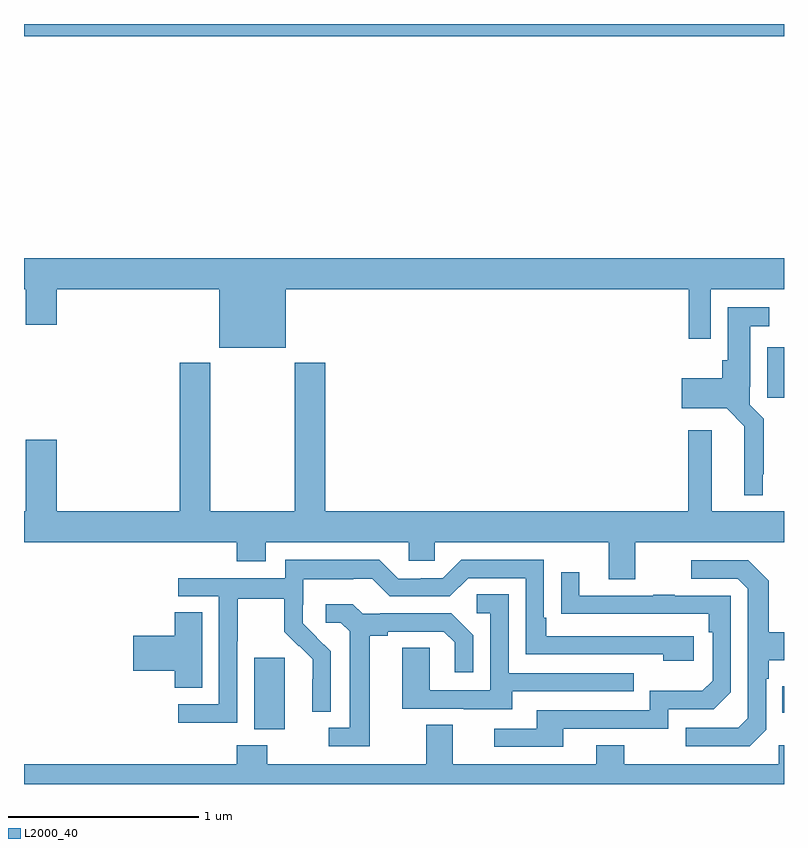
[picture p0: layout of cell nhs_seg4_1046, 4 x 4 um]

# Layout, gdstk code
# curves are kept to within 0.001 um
import gdstk
lib = gdstk.Library(unit=1e-6, precision=1e-09)
def R(c, l, rs):  # rectangles x0, y0, x1, y1
    for r in rs: c.add(gdstk.rectangle(r[:2], r[2:], *l))
def P(c, l, *ps):  # polygons
    for p in ps: c.add(gdstk.Polygon(p, *l))
L2000_40 = (2000, 40)

nhs_seg4_1046 = lib.new_cell('nhs_seg4_1046')
R(nhs_seg4_1046, L2000_40, [(166.211,777.188,166.372,777.565), (168.991,777.275,169,777.415), (168.911,778.932,169,779.199), (165,780.836,169,780.9)])
P(nhs_seg4_1046, L2000_40, [(166.378,779.504),(168.499,779.504),(168.499,779.244),(168.615,779.244),(168.615,779.504),(169,779.504),(169,779.668),(165,779.668),(165,779.504),(165.008,779.504),(165.008,779.316),(165.172,779.316),(165.172,779.504),(166.028,779.504),(166.028,779.195),(166.378,779.195)],
  [(168.889,778.531),(168.893,778.531),(168.893,778.822),(168.819,778.896),(168.819,778.99),(168.823,778.99),(168.823,779.309),(168.922,779.309),(168.922,779.41),(168.704,779.41),(168.704,779.13),(168.674,779.13),(168.674,779.035),(168.462,779.035),(168.462,778.877),(168.699,778.877),(168.792,778.784),(168.791,778.421),(168.889,778.421)],
  [(168.217,778.172),(169,778.172),(169,778.336),(168.619,778.336),(168.619,778.762),(168.497,778.762),(168.497,778.336),(166.586,778.336),(166.586,779.116),(166.426,779.116),(166.426,778.336),(165.981,778.336),(165.981,779.116),(165.821,779.116),(165.821,778.336),(165.172,778.336),(165.172,778.711),(165.008,778.711),(165.008,778.336),(165,778.336),(165,778.172),(166.121,778.172),(166.121,778.073),(166.273,778.073),(166.273,778.172),(167.025,778.172),(167.025,778.074),(167.163,778.074),(167.163,778.172),(168.077,778.172),(168.077,777.978),(168.217,777.978)],
  [(166.122,777.652),(166.125,777.652),(166.125,777.876),(166.369,777.876),(166.369,777.701),(166.446,777.624),(166.449,777.627),(166.52,777.557),(166.52,777.452),(166.517,777.452),(166.517,777.28),(166.614,777.28),(166.614,777.598),(166.468,777.746),(166.468,777.843),(166.47,777.843),(166.47,777.977),(166.733,777.977),(166.733,777.981),(166.833,777.981),(166.926,777.888),(167.241,777.888),(167.337,777.984),(167.64,777.984),(167.64,777.582),(168.365,777.582),(168.365,777.548),(168.526,777.548),(168.526,777.678),(167.749,777.678),(167.749,777.775),(167.736,777.775),(167.736,778.08),(167.301,778.08),(167.205,777.984),(167.087,777.984),(167.087,777.981),(166.971,777.981),(166.871,778.081),(166.374,778.081),(166.374,777.984),(165.813,777.984),(165.813,777.888),(166.026,777.888),(166.026,777.321),(165.813,777.321),(165.813,777.223),(166.122,777.223)],
  [(168.906,777.186),(168.906,777.455),(168.919,777.455),(168.919,777.551),(169,777.551),(169,777.699),(168.919,777.699),(168.919,777.971),(168.813,778.077),(168.513,778.077),(168.513,777.981),(168.756,777.981),(168.81,777.927),(168.81,777.246),(168.759,777.195),(168.483,777.195),(168.483,777.099),(168.819,777.099)],
  [(167.839,777.192),(168.39,777.192),(168.39,777.294),(168.63,777.294),(168.72,777.384),(168.72,777.891),(168.425,777.891),(168.425,777.896),(168.313,777.896),(168.313,777.891),(167.923,777.891),(167.923,778.015),(167.827,778.015),(167.827,777.796),(168.604,777.795),(168.604,777.698),(168.624,777.698),(168.624,777.444),(168.571,777.391),(168.294,777.391),(168.294,777.288),(167.699,777.288),(167.699,777.192),(167.475,777.192),(167.475,777.096),(167.839,777.096)],
  [(167.569,777.387),(168.209,777.387),(168.209,777.483),(167.55,777.483),(167.55,777.899),(167.382,777.899),(167.382,777.798),(167.454,777.798),(167.454,777.393),(167.136,777.393),(167.136,777.617),(166.991,777.617),(166.991,777.297),(167.315,777.297),(167.315,777.293),(167.569,777.293)],
  [(166.819,777.68),(166.915,777.68),(166.915,777.702),(167.21,777.702),(167.267,777.645),(167.267,777.489),(167.364,777.489),(167.364,777.682),(167.248,777.798),(166.876,777.798),(166.876,777.795),(166.782,777.795),(166.73,777.847),(166.587,777.847),(166.587,777.75),(166.668,777.75),(166.715,777.703),(166.715,777.195),(166.605,777.195),(166.605,777.099),(166.819,777.099)],
  [(165.937,777.803),(165.794,777.803),(165.794,777.68),(165.576,777.68),(165.576,777.497),(165.794,777.497),(165.794,777.406),(165.937,777.406)],
  [(169,777.103),(168.972,777.103),(168.972,777.004),(168.159,777.004),(168.159,777.103),(168.011,777.103),(168.011,777.004),(167.257,777.004),(167.257,777.212),(167.117,777.212),(167.117,777.004),(166.281,777.004),(166.281,777.103),(166.121,777.103),(166.121,777.004),(165,777.004),(165,776.9),(169,776.9)])

lib.write_gds('nhs_seg4_1046.gds')
